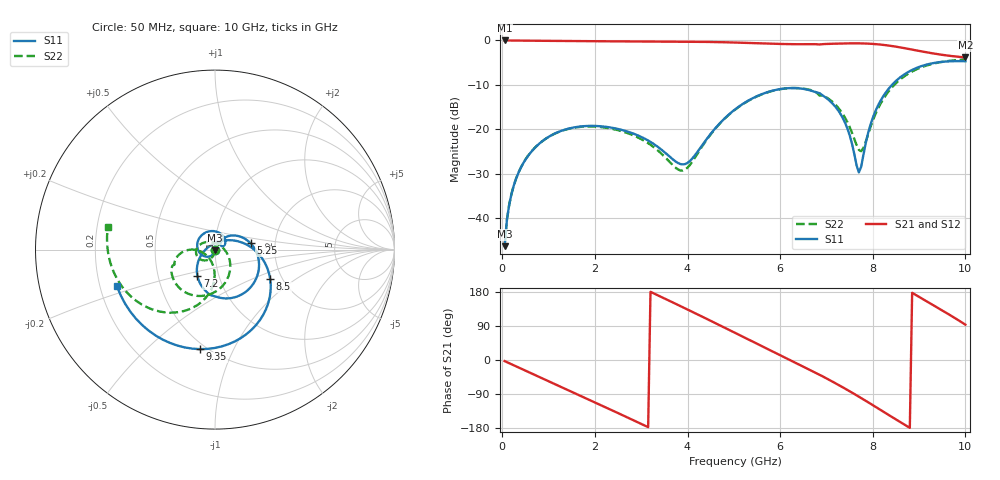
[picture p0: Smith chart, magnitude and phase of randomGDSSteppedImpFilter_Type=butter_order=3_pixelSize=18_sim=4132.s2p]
! freq	dB(S11)	phase(S11)	dB(S12)	phase(S12)
!  dB(S21)	phase(S21)	dB(S22)	phase(S22)
!S-par simulation data
#  GHz  S  DB  R 50
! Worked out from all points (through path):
!   200 points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, 50 MHz to 10 GHz, reference 50 ohm
!   highest |S21| = -0.01 dB at 50 MHz (marker M1); lowest = -3.8 dB at 10 GHz (marker M2)
!   group delay of S21, straight-line fit = 172 ps
!   lowest |S11| = -46.3 dB at 50 MHz (marker M3), VSWR 1.01, Z = 50 - j0.482 ohm
!   |S11| at or under -10 dB: start of sweep to 8.417 GHz
!   |S22| runs from -46.2 to -4.3 dB; largest |S21 - S12| = 0
!   S11 on the Smith chart (normalised r, x): 50 MHz: 1.00, -0.01; 5.25 GHz: 1.49, +0.11; 7.2 GHz: 0.79, -0.24; 8.5 GHz: 1.73, -0.65; 9.35 GHz: 0.46, -0.75; 10 GHz: 0.27, -0.17
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0.05  -46.34 -88.5  -0.01 -2.9  -0.01 -2.9  -46.17 -90.0
0.2  -34.51 -103.2  -0.02 -11.3  -0.02 -11.3  -34.49 -97.7
0.5  -26.85 -125.4  -0.05 -28.1  -0.05 -28.1  -26.80 -111.3
1.15  -20.89 -172.2  -0.11 -64.4  -0.11 -64.4  -20.91 -138.7
1.75  -19.31 143.5  -0.16 -97.9  -0.16 -97.9  -19.42 -161.7
2.65  -20.35 74.6  -0.21 -148.6  -0.21 -148.6  -20.68 166.1
3.4  -24.30 26.8  -0.25 168.3  -0.25 168.3  -25.15 128.7
3.95  -27.84 38.1  -0.28 136.2  -0.28 136.2  -29.08 45.9
4.5  -21.04 49.8  -0.35 103.4  -0.35 103.4  -21.15 -28.8
5.05  -15.35 22.3  -0.48 70.2  -0.48 70.2  -15.40 -64.5
5.25  -13.93 10.1  -0.54 58.1  -0.54 58.1  -13.99 -75.7
6  -10.96 -38.1  -0.79 12.9  -0.79 12.9  -10.98 -115.9
6.7  -11.41 -84.7  -0.84 -29.8  -0.84 -29.8  -11.31 -153.1
7.2  -15.03 -123.4  -0.73 -61.8  -0.73 -61.8  -14.53 -174.7
7.45  -19.78 -149.4  -0.66 -78.9  -0.66 -78.9  -18.37 -180.0
7.7  -29.72 122.9  -0.66 -96.8  -0.66 -96.8  -24.66 -149.4
8  -17.44 20.5  -0.78 -119.0  -0.78 -119.0  -18.07 -91.2
8.35  -10.80 -15.1  -1.16 -145.5  -1.16 -145.5  -11.37 -100.5
8.5  -9.14 -28.2  -1.40 -156.8  -1.40 -156.8  -9.64 -108.4
8.9  -6.39 -61.6  -2.16 173.7  -2.16 173.7  -6.72 -131.5
9.35  -5.02 -98.6  -3.01 141.5  -3.01 141.5  -5.13 -157.1
10  -4.68 -159.6  -3.84 93.2  -3.84 93.2  -4.28 168.1
